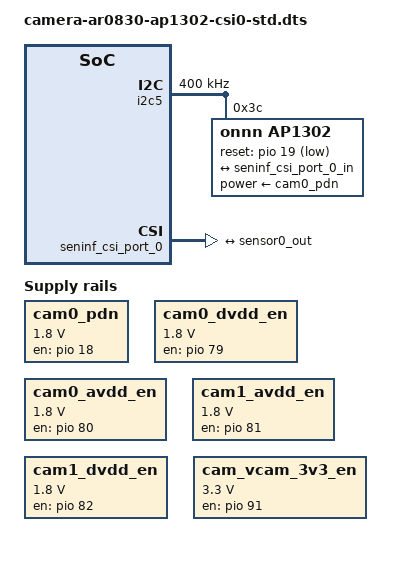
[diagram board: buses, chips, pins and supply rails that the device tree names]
// SPDX-License-Identifier: GPL-2.0
/*
 * Copyright (c) 2023 MediaTek Inc.
 *
 */

#include <dt-bindings/clock/mediatek,mt8188-clk.h>
#include <dt-bindings/gpio/gpio.h>
#include <dt-bindings/pinctrl/mediatek,mt8188-pinfunc.h>

/dts-v1/;
/plugin/;

#include "isp71.dtsi"

/ {
	fragment@4 {
		target-path = "/";
		__overlay__ {
			cam0_pdn: cam0-pdn-regulator {
				compatible = "regulator-fixed";
				regulator-name = "cam0_pdn";
				regulator-min-microvolt = <1800000>;
				regulator-max-microvolt = <1800000>;
				gpio = <&pio 18 0>;
				startup-delay-us = <18000>;
				enable-active-high;
			};

			cam0_dvdd_en: cam0-dvdd-en-regulator {
				compatible = "regulator-fixed";
				regulator-name = "cam0_dvdd_en";
				regulator-min-microvolt = <1800000>;
				regulator-max-microvolt = <1800000>;
				gpio = <&pio 79 0>;
				startup-delay-us = <18000>;
				enable-active-high;
				regulator-always-on;
				pinctrl-names = "default";
				pinctrl-0 = <&cam0_dvdd_en_pins>;
			};

			cam0_avdd_en: cam0-avdd-en-regulator {
				compatible = "regulator-fixed";
				regulator-name = "cam0_avdd_en";
				regulator-min-microvolt = <1800000>;
				regulator-max-microvolt = <1800000>;
				gpio = <&pio 80 0>;
				startup-delay-us = <18000>;
				enable-active-high;
				regulator-always-on;
				pinctrl-names = "default";
				pinctrl-0 = <&cam0_avdd_en_pins>;
			};

			cam1_avdd_en: cam1-avdd-en-regulator {
				compatible = "regulator-fixed";
				regulator-name = "cam1_avdd_en";
				regulator-min-microvolt = <1800000>;
				regulator-max-microvolt = <1800000>;
				gpio = <&pio 81 0>;
				startup-delay-us = <18000>;
				enable-active-high;
				regulator-always-on;
				pinctrl-names = "default";
				pinctrl-0 = <&cam1_avdd_en_pins>;
			};

			cam1_dvdd_en: cam1-dvdd-en-regulator {
				compatible = "regulator-fixed";
				regulator-name = "cam1_dvdd_en";
				regulator-min-microvolt = <1800000>;
				regulator-max-microvolt = <1800000>;
				gpio = <&pio 82 0>;
				startup-delay-us = <18000>;
				enable-active-high;
				regulator-always-on;
				pinctrl-names = "default";
				pinctrl-0 = <&cam1_dvdd_en_pins>;
			};

			cam_vcam_3v3_en: cam-vcam-3v3-en-regulator {
				compatible = "regulator-fixed";
				regulator-name = "cam_vcam_3v3_en";
				regulator-min-microvolt = <3300000>;
				regulator-max-microvolt = <3300000>;
				gpio = <&pio 91 GPIO_ACTIVE_HIGH>;
				enable-active-high;
				regulator-always-on;
				pinctrl-names = "default";
				pinctrl-0 = <&cam_vcam_3v3_en_pins>;
			};
		};
	};

	fragment@5 {
		target = <&spi2>;
		__overlay__ {
			status = "disabled";
		};
	};

	fragment@6 {
		target = <&pio>;
		__overlay__ {
			cam0_pins_default: cam0_pins_default {
				pins_cmd_dat {
					pinmux = <PINMUX_GPIO19__FUNC_B_GPIO19>,
						 <PINMUX_GPIO18__FUNC_B_GPIO18>,
						 <PINMUX_GPIO22__FUNC_O_CMMCLK0>;
					drive-strength = <MTK_DRIVE_8mA>;
				};
			};

			cam0_dvdd_en_pins: cam0-dvdd-en-pins {
				pins_cmd_dat {
					pinmux = <PINMUX_GPIO79__FUNC_B_GPIO79>;
				};
			};

			cam0_avdd_en_pins: cam0-avdd-en-pins {
				pins_cmd_dat {
					pinmux = <PINMUX_GPIO80__FUNC_B_GPIO80>;
				};
			};

			cam1_avdd_en_pins: cam1-avdd-en-pins {
				pins_cmd_dat {
					pinmux = <PINMUX_GPIO81__FUNC_B_GPIO81>;
				};
			};

			cam1_dvdd_en_pins: cam1-dvdd-en-pins {
				pins_cmd_dat {
					pinmux = <PINMUX_GPIO82__FUNC_B_GPIO82>;
				};
			};

			cam_vcam_3v3_en_pins: cam-vcam-3v3-en-pins {
				pins_cmd_dat {
					pinmux = <PINMUX_GPIO91__FUNC_B_GPIO91>;
				};
			};
		};
	};

	fragment@7 {
		target = <&i2c5>;
		__overlay__ {
			clock-frequency = <400000>;

			ap1302@3c {
				compatible = "onnn,ap1302";

				reg = <0x3c>;
				status = "okay";

				pinctrl-names = "default";
				pinctrl-0 = <&cam0_pins_default>;

				clocks = <&topckgen CLK_TOP_CAMTG>;
				assigned-clocks = <&topckgen CLK_TOP_CAMTG>;
				assigned-clock-parents = <&topckgen CLK_TOP_UNIVPLL_192M_D4>;

				reset-gpios = <&pio 19 GPIO_ACTIVE_LOW>;

				power-supply = <&cam0_pdn>;

				orientation = <0>;
				rotation = <0>;

				sensors {
					#address-cells = <1>;
					#size-cells = <0>;

					onnn,model = "onnn,ar0830";

					sensor@0 {
						reg = <0>;
					};
				};

				port {
					sensor0_out: endpoint {
						remote-endpoint = <&seninf_csi_port_0_in>;
						data-lanes = <1 2 3 4>;
						link-frequencies = /bits/ 64 <480000000>;
					};
				};
			};
		};
	};

	fragment@8 {
		target = <&seninf_top>;
		__overlay__ {
			seninf_csi_port_0: seninf_csi_port_0 {
				compatible = "mediatek,seninf";
				csi-port = "0";
				hs_trail_parameter = <0x08>;

				port {
					seninf_csi_port_0_in: endpoint {
						remote-endpoint = <&sensor0_out>;
						data-lanes = <1 2 3 4>;
					};
				};
			};
		};
	};

	fragment@9 {
		target = <&hcp>;
		__overlay__ {
			status = "disabled";
		};
	};

	fragment@10 {
		target-path = "/soc/hcp_l15";
		__overlay__ {
			status = "disabled";
		};
	};

	fragment@11 {
		target-path = "/soc/imgsys_l10";
		__overlay__ {
			status = "disabled";
		};
	};

	fragment@12 {
		target-path = "/soc/imgsys_l11A";
		__overlay__ {
			status = "disabled";
		};
	};

	fragment@13 {
		target-path = "/soc/imgsys_l11C";
		__overlay__ {
			status = "disabled";
		};
	};

	fragment@14 {
		target = <&imgsys_fw>;
		__overlay__ {
			status = "disabled";
		};
	};

	fragment@15 {
		target = <&ipesys_me>;
		__overlay__ {
			status = "disabled";
		};
	};
};
